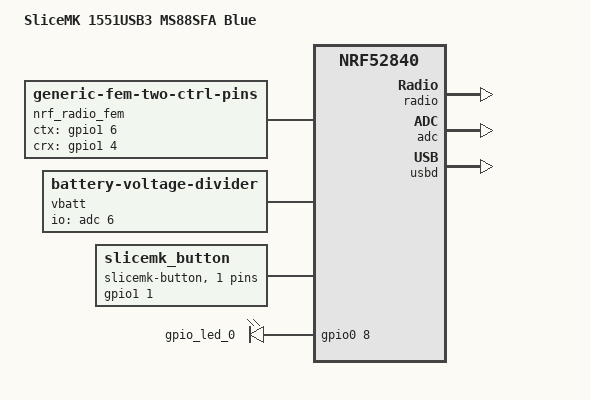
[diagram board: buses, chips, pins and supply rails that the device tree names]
/dts-v1/;
#include <nordic/nrf52840_qiaa.dtsi>

/ {
    model = "SliceMK 1551USB3 MS88SFA Blue";

    chosen {
        zephyr,code-partition = &code_partition;
        zephyr,sram = &sram0;
        zephyr,flash = &flash0;
        zephyr,console = &cdc_acm_uart;

        zmk,battery = &vbatt;
        zmk,backlight = &backlight;
    };

    // Define PA/LNA.
    nrf_radio_fem: fem {
        compatible = "generic-fem-two-ctrl-pins";
        ctx-gpios = <&gpio1 6 0>;
        ctx-settle-time-us = <1>;
        crx-gpios = <&gpio1 4 0>;
        crx-settle-time-us = <1>;
    };

    vbatt: vbatt {
        compatible = "zmk,battery-voltage-divider";
        io-channels = <&adc 6>;
        output-ohms = <680>;
        full-ohms = <(680 + 680)>;
    };

    // The dongle doesn't have a button beside the reset button but ZMK needs
    // something to be defined for kscan. A pin that is not broken out is
    // specified here to avoid conflicting with custom user integration using
    // the breakout pins.
    slicemk_button: slicemk_button {
        compatible = "slicemk-button";
        #gpio-cells = <2>;
        gpio-map-mask = <0xffffffff 0xffffffc0>;
        gpio-map-pass-thru = <0 0x3f>;
        gpio-map = <0 0 &gpio1 1 0>;
    };

    // Use backlight to control TP4056 charger.
    backlight: gpioleds {
        compatible = "gpio-leds";
        gpio_led_0 {
            gpios = <&gpio0 8 GPIO_ACTIVE_HIGH>;
        };
    };
};

&radio {
    fem = <&nrf_radio_fem>;
};

&adc {
    status = "okay";
};

&gpiote {
    status = "okay";
};

&gpio0 {
    status = "okay";
};

&gpio1 {
    status = "okay";
};

&usbd {
    status = "okay";
    cdc_acm_uart: cdc_acm_uart {
        compatible = "zephyr,cdc-acm-uart";
        label = "CDC_ACM_0";
    };
};

&flash0 {
    partitions {
        compatible = "fixed-partitions";
        #address-cells = <1>;
        #size-cells = <1>;

        // Application starts at 0x1000 after the MBR.
        code_partition: partition@1000 {
            label = "code_partition";
            reg = <0x00001000 0x000e9000>;
        };

        // Define storage partition before the bootloader, which starts at
        // 0xf4000. The storage partition has been 10 pages since Adafruit
        // bootloader version 0.6.0.
        storage_partition: partition@ea000 {
            label = "storage";
            reg = <0x000ea000 0x0000a000>;
        };
    };
};
